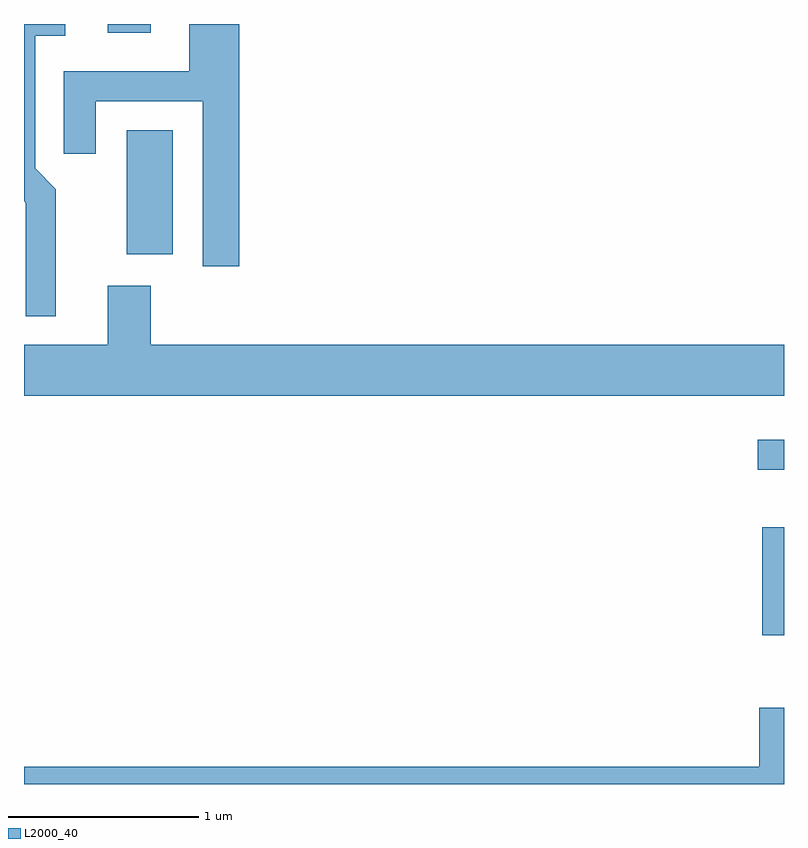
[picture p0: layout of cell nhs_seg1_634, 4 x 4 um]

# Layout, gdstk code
import gdstk
lib = gdstk.Library(unit=1e-6, precision=1e-09)
def R(c, l, rs):  # rectangles x0, y0, x1, y1
    for r in rs: c.add(gdstk.rectangle(r[:2], r[2:], *l))
def P(c, l, *ps):  # polygons
    for p in ps: c.add(gdstk.Polygon(p, *l))
L2000_40 = (2000, 40)

nhs_seg1_634 = lib.new_cell('nhs_seg1_634')
R(nhs_seg1_634, L2000_40, [(207.496,940.496,207.611,941.064), (207.473,941.366,207.611,941.524), (204.151,942.501,204.394,943.154), (204.051,943.666,204.279,943.712)])
P(nhs_seg1_634, L2000_40, [(203.779,942.842),(203.669,942.952),(203.669,943.651),(203.828,943.651),(203.828,943.712),(203.611,943.712),(203.611,942.779),(203.621,942.769),(203.621,942.173),(203.779,942.173)],
  [(204.744,943.712),(204.481,943.712),(204.481,943.464),(203.821,943.464),(203.821,943.028),(203.989,943.028),(203.989,943.306),(204.551,943.306),(204.551,942.436),(204.744,942.436)],
  [(207.611,942.024),(204.279,942.024),(204.279,942.334),(204.051,942.334),(204.051,942.024),(203.611,942.024),(203.611,941.756),(207.611,941.756)],
  [(207.611,940.114),(207.481,940.114),(207.481,939.804),(203.611,939.804),(203.611,939.712),(207.611,939.712)])

lib.write_gds('nhs_seg1_634.gds')
